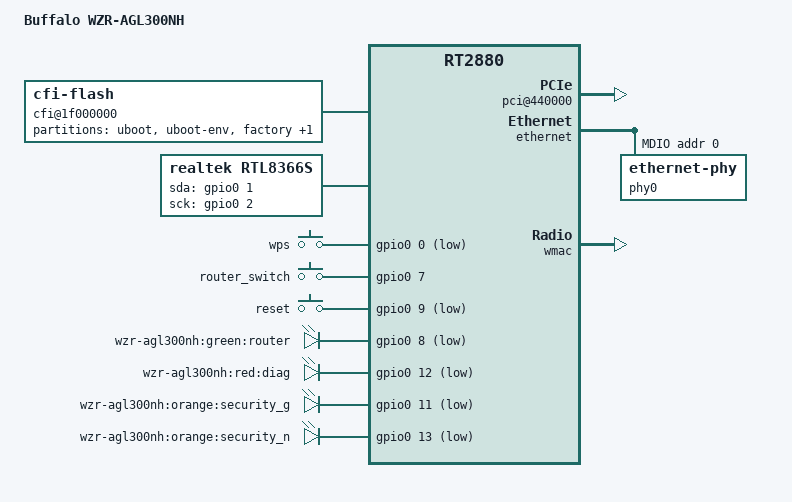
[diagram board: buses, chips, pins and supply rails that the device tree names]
/dts-v1/;

#include "rt2880.dtsi"

/ {
	#address-cells = <1>;
	#size-cells = <1>;
	compatible = "WZR-AGL300NH", "ralink,rt2880-soc";
	model = "Buffalo WZR-AGL300NH";

	pci@440000 {
		compatible = "ralink,rt288x-pci";
		reg = <0x00440000 0x20000>;
		#address-cells = <1>;
		#size-cells = <1>;
		status = "ok";
	};

	cfi@1f000000 {
		compatible = "cfi-flash";
		reg = <0x1f000000 0x800000>;
		bank-width = <2>;
		device-width = <2>;
		#address-cells = <1>;
		#size-cells = <1>;

		partition@0 {
			label = "uboot";
			reg = <0x0 0x30000>;
			read-only;
		};

		partition@30000 {
			label = "uboot-env";
			reg = <0x30000 0x10000>;
			read-only;
		};

		factory: partition@40000 {
			label = "factory";
			reg = <0x40000 0x10000>;
			read-only;
		};

		partition@50000 {
			label = "firmware";
			reg = <0x50000 0x3b0000>;
		};
	};

	rtl8366s {
		compatible = "realtek,rtl8366s";
		gpio-sda = <&gpio0 1 0>;
		gpio-sck = <&gpio0 2 0>;
	};

	gpio-keys-polled {
		compatible = "gpio-keys-polled";
		#address-cells = <1>;
		#size-cells = <0>;
		poll-interval = <100>;

		wps {
			label = "wps";
			gpios = <&gpio0 0 1>;
			linux,code = <0x211>;
		};

		router {
			label = "router_switch";
			gpios = <&gpio0 7 0>;
			linux,code = <0x100>;
		};

		reset {
			label = "reset";
			gpios = <&gpio0 9 1>;
			linux,code = <0x198>;
		};
	};

	gpio-leds {
		compatible = "gpio-leds";

		router {
			label = "wzr-agl300nh:green:router";
			gpios = <&gpio0 8 1>;
		};

		diag {
			label = "wzr-agl300nh:red:diag";
			gpios = <&gpio0 12 1>;
		};

		security_g {
			label = "wzr-agl300nh:orange:security_g";
			gpios = <&gpio0 11 1>;
		};

		security_n {
			label = "wzr-agl300nh:orange:security_n";
			gpios = <&gpio0 13 1>;
		};
	};
};

&gpio0 {
	status = "okay";
};

&pinctrl {
	state_default: pinctrl0 {
		gpio {
			ralink,group = "i2c", "uartlite", "mdio";
			ralink,function = "gpio";
		};
	};
};

&ethernet {
	status = "okay";
	mtd-mac-address = <&factory 0x4>;

	port@0 {
		mediatek,fixed-link = <1000 1 1 1>;
	};

	mdio-bus {
		status = "okay";

		phy0: ethernet-phy@0 {
			phy-mode = "mii";
			reg = <0>;
		};
	};
};

&wmac {
	ralink,mtd-eeprom = <&factory 0>;
};
